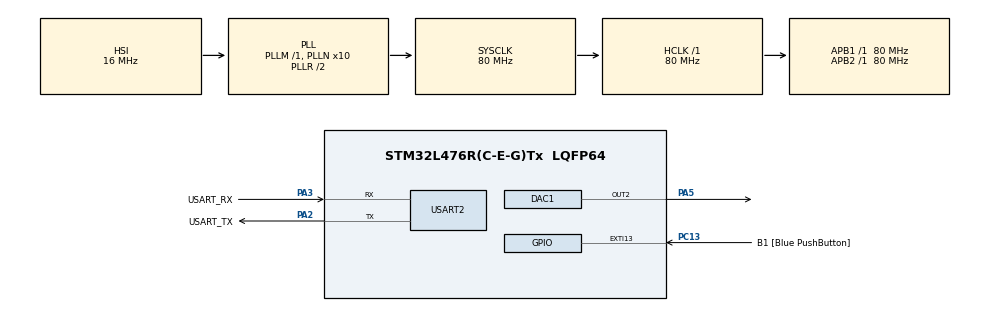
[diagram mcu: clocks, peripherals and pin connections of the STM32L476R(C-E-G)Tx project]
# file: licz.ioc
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DAC1.DAC_Channel-DAC_OUT2=DAC_CHANNEL_2
DAC1.DAC_Trigger-DAC_OUT2=DAC_TRIGGER_T6_TRGO
Mcu.Family=STM32L4
Mcu.Name=STM32L476R(C-E-G)Tx
Mcu.Package=LQFP64
NVIC.PriorityGroup=NVIC_PRIORITYGROUP_4
NVIC.TIM6_DAC_IRQn=true\:0\:0\:false\:false\:true\:true\:true
PA13\ (JTMS-SWDIO).GPIO_Label=TMS
PA13\ (JTMS-SWDIO).Mode=Serial_Wire
PA13\ (JTMS-SWDIO).Signal=SYS_JTMS-SWDIO
PA14\ (JTCK-SWCLK).GPIO_Label=TCK
PA14\ (JTCK-SWCLK).Mode=Serial_Wire
PA14\ (JTCK-SWCLK).Signal=SYS_JTCK-SWCLK
PA2.GPIO_Label=USART_TX
PA2.GPIO_Mode=GPIO_MODE_AF_PP
PA2.GPIO_PuPd=GPIO_NOPULL
PA2.GPIO_Speed=GPIO_SPEED_FREQ_VERY_HIGH
PA2.Mode=Asynchronous
PA2.Signal=USART2_TX
PA3.GPIO_Label=USART_RX
PA3.GPIO_Mode=GPIO_MODE_AF_PP
PA3.GPIO_PuPd=GPIO_NOPULL
PA3.GPIO_Speed=GPIO_SPEED_FREQ_VERY_HIGH
PA3.Mode=Asynchronous
PA3.Signal=USART2_RX
PA5.Signal=COMP_DAC12_group
PB3\ (JTDO-TRACESWO).GPIO_Label=SWO
PB3\ (JTDO-TRACESWO).Signal=SYS_JTDO-SWO
PC13.GPIO_Label=B1 [Blue PushButton]
PC13.GPIO_ModeDefaultEXTI=GPIO_MODE_IT_FALLING
PC13.GPIO_PuPd=GPIO_NOPULL
PC13.Signal=GPXTI13
PC14-OSC32_IN\ (PC14).Mode=LSE-External-Oscillator
PC14-OSC32_IN\ (PC14).Signal=RCC_OSC32_IN
PC15-OSC32_OUT\ (PC15).Mode=LSE-External-Oscillator
PC15-OSC32_OUT\ (PC15).Signal=RCC_OSC32_OUT
PH0-OSC_IN\ (PH0).Signal=RCC_OSC_IN
PH1-OSC_OUT\ (PH1).Signal=RCC_OSC_OUT
ProjectManager.HeapSize=0x200
ProjectManager.StackSize=0x400
ProjectManager.TargetToolchain=STM32CubeIDE
RCC.ADCFreq_Value=64000000
RCC.AHBFreq_Value=80000000
RCC.APB1Freq_Value=80000000
RCC.APB1TimFreq_Value=80000000
RCC.APB2Freq_Value=80000000
RCC.APB2TimFreq_Value=80000000
RCC.CortexFreq_Value=80000000
RCC.HCLKFreq_Value=80000000
RCC.HSE_VALUE=8000000
RCC.HSI_VALUE=16000000
RCC.MSI_VALUE=4000000
RCC.PLLN=10
RCC.PLLSourceVirtual=RCC_PLLSOURCE_HSI
RCC.PREFETCH_ENABLE=1
RCC.SYSCLKFreq_VALUE=80000000
RCC.SYSCLKSource=RCC_SYSCLKSOURCE_PLLCLK
RCC.USBFreq_Value=64000000
RCC.VCOOutputFreq_Value=160000000
SH.COMP_DAC12_group.0=DAC1_OUT2,DAC_OUT2
TIM6.AutoReloadPreload=TIM_AUTORELOAD_PRELOAD_ENABLE
TIM6.Period=4999
TIM6.Prescaler=15999
TIM6.TIM_MasterOutputTrigger=TIM_TRGO_UPDATE
USART2.VirtualMode-Asynchronous=VM_ASYNC
VP_TIM6_VS_ClockSourceINT.Mode=Enable_Timer
board=NUCLEO-L476RG

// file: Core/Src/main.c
/* USER CODE BEGIN Header */
/**
  ******************************************************************************
  * @file           : main.c
  * @brief          : Main program body
  ******************************************************************************
  * @attention
  *
  * <h2><center>&copy; Copyright (c) 2021 STMicroelectronics.
  * All rights reserved.</center></h2>
  *
  * This software component is licensed by ST under BSD 3-Clause license,
  * the "License"; You may not use this file except in compliance with the
  * License. You may obtain a copy of the License at:
  *                        opensource.org/licenses/BSD-3-Clause
  *
  ******************************************************************************
  */
/* USER CODE END Header */
#include "main.h"
#include "dac.h"
#include "tim.h"
#include "usart.h"
#include "gpio.h"

/* USER CODE BEGIN Includes */
#include "stdio.h"
/* USER CODE END Includes */

/* USER CODE BEGIN PV */
uint16_t dacValue;
//magistrala APB1
// freq = CLOCK / (TIM_PRESCALER+1)(TIM_PERIOD+1)
// 0.5 = 80000000 / (16000)(10000)
// 0.5 = 80000000 / (15999+1)(9999+1)
/* USER CODE END PV */

void SystemClock_Config(void);

/* USER CODE BEGIN 0 */
int _write(int file, char *ptr, int len) {
	HAL_UART_Transmit(&huart2, (uint8_t*)ptr, len, 50);
	return len;
}

void HAL_TIM_PeriodElapsedCallback(TIM_HandleTypeDef *htim) {
	if(htim == &htim6) {
	  HAL_DAC_SetValue(&hdac1, DAC_CHANNEL_2, DAC_ALIGN_8B_R, dacValue);
	  dacValue += 38; //+ 0.5V
	  if(dacValue == 266) dacValue = 255;
	  else if(dacValue == 293) dacValue = 0;
	}
}
/* USER CODE END 0 */

int main(void)
{

  /* MCU Configuration--------------------------------------------------------*/

  /* Reset of all peripherals, Initializes the Flash interface and the Systick. */
  HAL_Init();

  /* Configure the system clock */
  SystemClock_Config();

  /* Initialize all configured peripherals */
  MX_GPIO_Init();
  MX_USART2_UART_Init();
  MX_DAC1_Init();
  MX_TIM6_Init();
  /* USER CODE BEGIN 2 */
  HAL_DAC_Start(&hdac1, DAC_CHANNEL_2);
  HAL_TIM_Base_Start_IT(&htim6);
  /* USER CODE END 2 */

  /* Infinite loop */
  /* USER CODE BEGIN WHILE */
  while (1)
  {
	  printf("DAC %3d -> %3d%%\r\n", dacValue, ((dacValue)*100)/255);
	  HAL_Delay(2000);
    /* USER CODE END WHILE */

  }
}

void SystemClock_Config(void)
{
  RCC_OscInitTypeDef RCC_OscInitStruct = {0};
  RCC_ClkInitTypeDef RCC_ClkInitStruct = {0};
  RCC_PeriphCLKInitTypeDef PeriphClkInit = {0};

  /** Initializes the RCC Oscillators according to the specified parameters
  * in the RCC_OscInitTypeDef structure.
  */
  RCC_OscInitStruct.OscillatorType = RCC_OSCILLATORTYPE_HSI;
  RCC_OscInitStruct.HSIState = RCC_HSI_ON;
  RCC_OscInitStruct.HSICalibrationValue = RCC_HSICALIBRATION_DEFAULT;
  RCC_OscInitStruct.PLL.PLLState = RCC_PLL_ON;
  RCC_OscInitStruct.PLL.PLLSource = RCC_PLLSOURCE_HSI;
  RCC_OscInitStruct.PLL.PLLM = 1;
  RCC_OscInitStruct.PLL.PLLN = 10;
  RCC_OscInitStruct.PLL.PLLP = RCC_PLLP_DIV7;
  RCC_OscInitStruct.PLL.PLLQ = RCC_PLLQ_DIV2;
  RCC_OscInitStruct.PLL.PLLR = RCC_PLLR_DIV2;
  if (HAL_RCC_OscConfig(&RCC_OscInitStruct) != HAL_OK)
  {
    Error_Handler();
  }
  /** Initializes the CPU, AHB and APB buses clocks
  */
  RCC_ClkInitStruct.ClockType = RCC_CLOCKTYPE_HCLK|RCC_CLOCKTYPE_SYSCLK
                              |RCC_CLOCKTYPE_PCLK1|RCC_CLOCKTYPE_PCLK2;
  RCC_ClkInitStruct.SYSCLKSource = RCC_SYSCLKSOURCE_PLLCLK;
  RCC_ClkInitStruct.AHBCLKDivider = RCC_SYSCLK_DIV1;
  RCC_ClkInitStruct.APB1CLKDivider = RCC_HCLK_DIV1;
  RCC_ClkInitStruct.APB2CLKDivider = RCC_HCLK_DIV1;

  if (HAL_RCC_ClockConfig(&RCC_ClkInitStruct, FLASH_LATENCY_4) != HAL_OK)
  {
    Error_Handler();
  }
  PeriphClkInit.PeriphClockSelection = RCC_PERIPHCLK_USART2;
  PeriphClkInit.Usart2ClockSelection = RCC_USART2CLKSOURCE_PCLK1;
  if (HAL_RCCEx_PeriphCLKConfig(&PeriphClkInit) != HAL_OK)
  {
    Error_Handler();
  }
  /** Configure the main internal regulator output voltage
  */
  if (HAL_PWREx_ControlVoltageScaling(PWR_REGULATOR_VOLTAGE_SCALE1) != HAL_OK)
  {
    Error_Handler();
  }
}

void Error_Handler(void)
{
}

/************************ (C) COPYRIGHT STMicroelectronics *****END OF FILE****/
